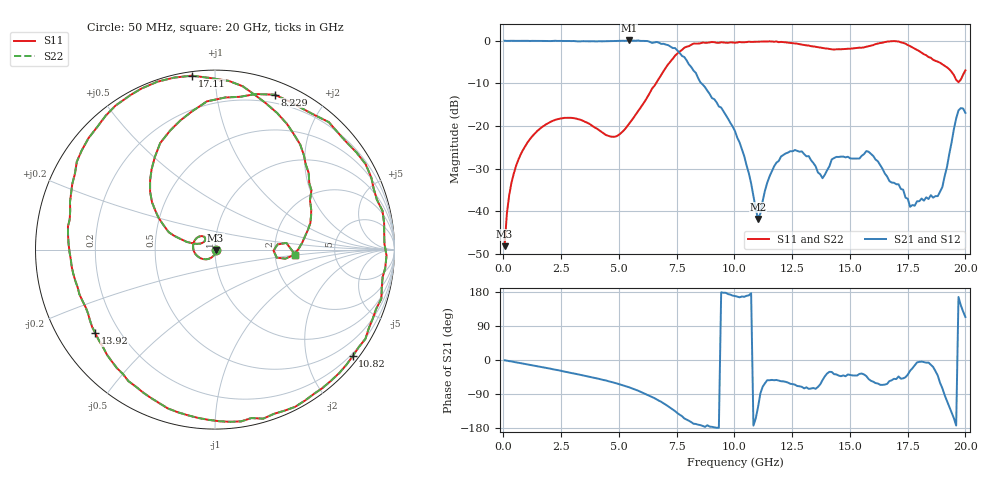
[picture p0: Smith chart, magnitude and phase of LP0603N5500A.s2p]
!	AVX	Thin	Film	Operation	Date:	2007
!	Description:	"Series,"	Thin	"Film,"	"LGA,"	RF	Filters
!	Part	Number:	LP0603N5500AN
!	50	MHz	-	20	GHz
!	Serial	Measurements  Agilent 8720ES
#	mhz	S	db	R	50
!	S11	S11	S21	S21	S12	S12	S22	S22
!	dB	Phase	dB	Phase	dB	Phase	dB	Phase
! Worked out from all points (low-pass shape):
!   201 points, 50 MHz to 20 GHz, reference 50 ohm
!   highest |S21| = 0.06 dB at 5.436 GHz (marker M1); lowest = -41.8 dB at 11.02 GHz (marker M2)
!   |S21| within 3 dB of the highest: start of sweep to 7.639 GHz
!   lowest |S11| = -48.2 dB at 50 MHz (marker M3), VSWR 1.01, Z = 50.3 - j0.271 ohm
!   |S11| at or under -10 dB: start of sweep to 6.602 GHz
!   |S22| runs from -48.2 to -0.1 dB; largest |S21 - S12| = 0
!   S11 on the Smith chart (normalised r, x): 50 MHz: 1.01, -0.01; 8.229 GHz: 0.12, +1.45; 10.82 GHz: 0.14, -2.92; 13.92 GHz: 0.11, -0.31; 17.11 GHz: 0.02, +0.88; 20 GHz: 2.61, -0.19
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50  -48.19 -43.7  -0.01 -0.7  -0.01 -0.7  -48.19 -43.7
349.25  -33.26 -91.1  -0.02 -3.8  -0.02 -3.8  -33.26 -91.1
1047.5  -23.81 -125.8  -0.03 -11.8  -0.03 -11.8  -23.81 -125.8
3441.5  -18.78 141.2  -0.11 -40.7  -0.11 -40.7  -18.78 141.2
5436.5  -19.51 162.4  0.06 -71.9  0.06 -71.9  -19.51 162.4
6733.25  -8.82 150.5  -0.47 -107.5  -0.47 -107.5  -8.82 150.5
7431.5  -3.51 117.2  -1.73 -134.9  -1.73 -134.9  -3.51 117.2
8229.5  -0.68 69.0  -7.00 -168.2  -7.00 -168.2  -0.68 69.0
9027.5  -0.31 29.6  -13.45 -176.4  -13.45 -176.4  -0.31 29.6
10025  -0.48 -9.3  -21.21 168.9  -21.21 168.9  -0.48 -9.3
10823  -0.26 -37.8  -36.48 -173.1  -36.48 -173.1  -0.26 -37.8
11022.5  -0.21 -44.8  -41.80 -124.0  -41.80 -124.0  -0.21 -44.8
12020  -0.28 -81.4  -27.15 -56.0  -27.15 -56.0  -0.28 -81.4
13416.5  -1.34 -129.6  -28.68 -74.0  -28.68 -74.0  -1.34 -129.6
13915.25  -1.79 -145.1  -31.42 -43.1  -31.42 -43.1  -1.79 -145.1
15710.75  -1.41 161.9  -25.90 -42.4  -25.90 -42.4  -1.41 161.9
16708.25  -0.17 118.8  -32.91 -55.7  -32.91 -55.7  -0.17 118.8
17107.25  -0.20 97.5  -33.68 -43.5  -33.68 -43.5  -0.20 97.5
17805.5  -1.86 60.2  -38.69 -13.9  -38.69 -13.9  -1.86 60.2
18803  -4.92 19.5  -36.44 -40.9  -36.44 -40.9  -4.92 19.5
19700.75  -9.73 -1.1  -16.35 166.4  -16.35 166.4  -9.73 -1.1
20000  -6.96 -3.8  -16.93 113.5  -16.93 113.5  -6.96 -3.8
